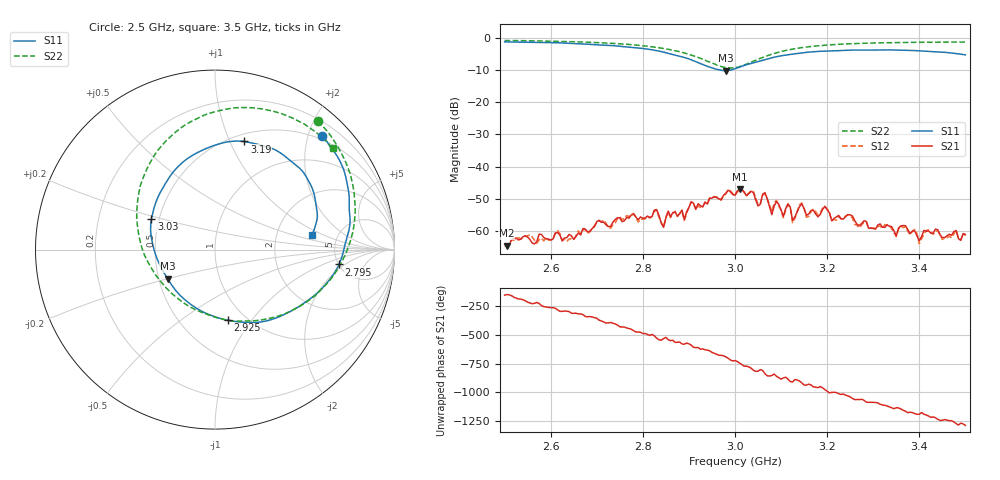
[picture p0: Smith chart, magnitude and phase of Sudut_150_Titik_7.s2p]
# Hz S RI R 50
! CMT, C1220, 16058040, 17.2.0/1
! Date: 15/08/2018 10:08:43
! Data: Format (Calibration Info)
! Freq  S11: Re/Im (F2)  S21: Re/Im (F2)  S12: Re/Im (F2)  S22: Re/Im (F2)
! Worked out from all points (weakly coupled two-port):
!   201 points, 2.5 GHz to 3.5 GHz, reference 50 ohm
!   highest |S21| = -47.00 dB at 3.01 GHz (marker M1); lowest = -64.6 dB at 2.505 GHz (marker M2)
!   lowest |S11| = -10.2 dB at 2.98 GHz (marker M3), VSWR 1.90, Z = 27.8 - j9.99 ohm
!   |S11| at or under -10 dB: 2.97 GHz to 2.989 GHz (19.35 MHz wide, 0.649 % of centre)
!   |S22| runs from -9.3 to -0.7 dB; largest |S21 - S12| = 0.00035
!   S11 on the Smith chart (normalised r, x): 2.5 GHz: 0.43, +2.25; 2.795 GHz: 5.04, -1.62; 2.925 GHz: 0.83, -0.78; 3.03 GHz: 0.45, +0.19; 3.19 GHz: 0.57, +1.14; 3.5 GHz: 3.22, +0.76
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2.5e9  0.5981 0.634  -0.00056 -0.000253  -0.000529 -0.000233  0.5729 0.7164
2.505e9  0.6044 0.6265  -0.000514 -0.00029  -0.000533 -0.000244  0.5785 0.711
2.67e9  0.7457 0.3161  0.000879 0.000635  0.000887 0.000542  0.7454 0.4435
2.795e9  0.6911 -0.0826  -0.000783 -0.00145  -0.00073 -0.00134  0.7622 0.0765
2.835e9  0.5843 -0.2283  -0.00173 8.78e-05  -0.00165 8.41e-05  0.7016 -0.077
2.845e9  0.542 -0.2651  -0.00112 -0.000136  -0.00114 -0.000153  0.6774 -0.1183
2.855e9  0.494 -0.2996  -0.00203 6.73e-05  -0.00196 4.74e-05  0.649 -0.1593
2.925e9  0.0721 -0.3942  -0.000197 0.00247  -0.0003 0.0023  0.2921 -0.3858
2.98e9  -0.264 -0.1622  0.00337 0.00184  0.00321 0.00194  -0.1373 -0.3207
3e9  -0.3322 -0.0251  0.00357 -0.000254  0.00357 -0.00038  -0.2742 -0.211
3.01e9  -0.3499 0.0425  0.00403 -0.00192  0.00382 -0.00174  -0.3296 -0.1429
3.03e9  -0.3538 0.1728  0.00199 -0.00323  0.00209 -0.00326  -0.4071 0.00902
3.065e9  -0.2744 0.3708  -0.00178 -0.00352  -0.00165 -0.00335  -0.4293 0.2848
3.08e9  -0.2276 0.4388  -0.00121 -0.00131  -0.00135 -0.00147  -0.4045 0.3901
3.115e9  -0.0969 0.5411  -0.00255 -0.000681  -0.00248 -0.000587  -0.2954 0.5809
3.125e9  -0.0576 0.5598  -0.00142 0.000228  -0.00133 0.000167  -0.2556 0.622
3.145e9  0.0179 0.5875  -0.0025 0.000782  -0.00256 0.000927  -0.1765 0.6878
3.17e9  0.1014 0.6039  -0.0013 0.00164  -0.00151 0.00159  -0.0758 0.7419
3.19e9  0.1642 0.6024  -0.00109 0.00186  -0.00103 0.002  -0.00122 0.7676
3.335e9  0.4894 0.4343  0.00083 -0.000836  0.000834 -0.000897  0.4086 0.7427
3.4e9  0.552 0.3108  -0.000234 -0.000662  -0.000278 -0.000568  0.5259 0.6797
3.5e9  0.5414 0.0825  -0.000784 0.000399  -0.00069 0.000489  0.6573 0.564
